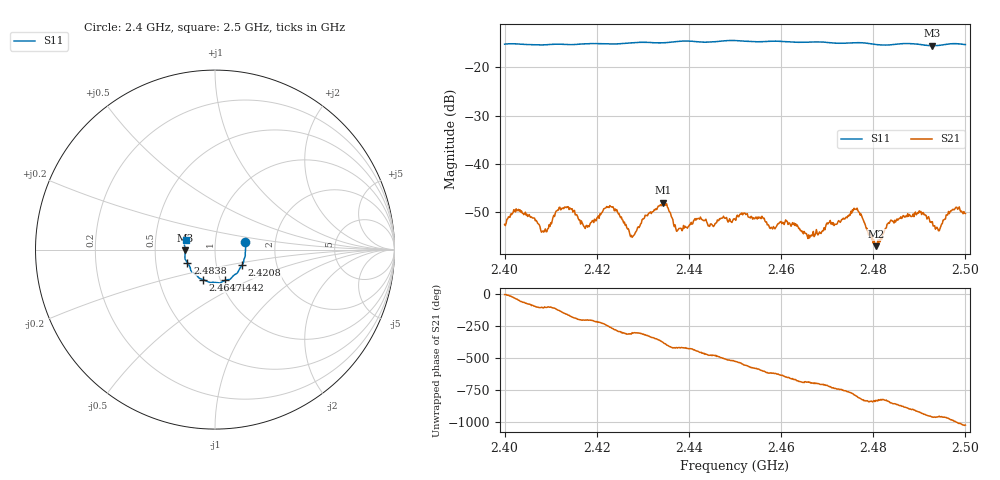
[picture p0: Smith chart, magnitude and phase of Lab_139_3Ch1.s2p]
# Hz S RI R 50
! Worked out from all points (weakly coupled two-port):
!   601 points, 2.4 GHz to 2.5 GHz, reference 50 ohm
!   highest |S21| = -47.99 dB at 2.4343 GHz (marker M1); lowest = -57.0 dB at 2.4807 GHz (marker M2)
!   lowest |S11| = -15.6 dB at 2.4928 GHz (marker M3), VSWR 1.40, Z = 35.8 - j0.341 ohm
!   |S11| at or under -10 dB: start of sweep to end of sweep
!   S12 and S22 are empty: the file has one direction only
!   S11 on the Smith chart (normalised r, x): 2.4 GHz: 1.40, +0.12; 2.4208 GHz: 1.33, -0.24; 2.4442 GHz: 1.05, -0.37; 2.4647 GHz: 0.83, -0.29; 2.4838 GHz: 0.73, -0.11; 2.5 GHz: 0.72, +0.08
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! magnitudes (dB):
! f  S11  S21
! 2.4 GHz  -15.3  -52.5
! 2.403 GHz  -15.2  -49.4
! 2.4087 GHz  -15.4  -53.8
! 2.4133 GHz  -15.3  -48.9
! 2.4167 GHz  -15.2  -51.7
! 2.4208 GHz  -15.2  -50.5
! 2.4238 GHz  -15.2  -49.7
! 2.4277 GHz  -15.0  -55.1
! 2.4333 GHz  -15.0  -48.7
! 2.4343 GHz  -15.0  -48.0
! 2.4377 GHz  -14.7  -53.5
! 2.4442 GHz  -14.9  -52.8
! 2.45 GHz  -14.5  -51.4
! 2.4647 GHz  -14.9  -53.9
! 2.4667 GHz  -14.8  -54.8
! 2.476 GHz  -15.0  -49.3
! 2.4807 GHz  -15.4  -57.0
! 2.4833 GHz  -15.4  -52.1
! 2.4838 GHz  -15.4  -51.6
! 2.4903 GHz  -15.4  -49.8
! 2.4928 GHz  -15.6  -51.9
! 2.5 GHz  -15.3  -50.2
